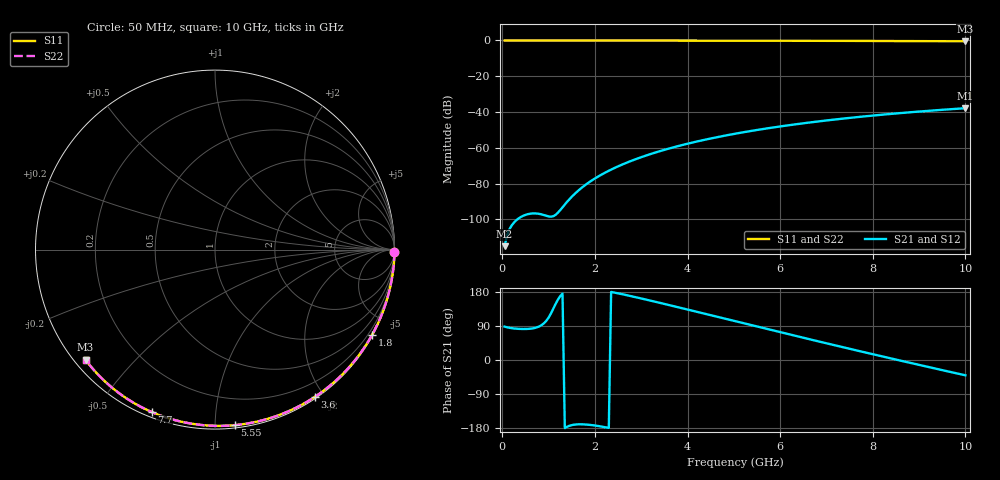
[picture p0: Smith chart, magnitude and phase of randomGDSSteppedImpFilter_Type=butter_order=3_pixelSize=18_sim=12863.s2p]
! freq	dB(S11)	phase(S11)	dB(S12)	phase(S12)
!  dB(S21)	phase(S21)	dB(S22)	phase(S22)
!S-par simulation data
#  GHz  S  DB  R 50
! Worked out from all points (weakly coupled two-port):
!   200 points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, 50 MHz to 10 GHz, reference 50 ohm
!   highest |S21| = -37.89 dB at 10 GHz (marker M1); lowest = -115.0 dB at 50 MHz (marker M2)
!   lowest |S11| = -0.5 dB at 10 GHz (marker M3), VSWR 36.83, Z = 1.54 - j18.4 ohm
!   |S11| at or under -10 dB: nowhere
!   |S22| runs from -0.5 to 0.0 dB; largest |S21 - S12| = 0
!   S11 on the Smith chart (normalised r, x): 50 MHz: open; 1.8 GHz: 0.03, -3.91; 3.6 GHz: 0.02, -1.88; 5.55 GHz: 0.02, -1.12; 7.7 GHz: 0.02, -0.68; 10 GHz: 0.03, -0.37
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0.05  -0.00 -0.8  -115.04 88.1  -115.04 88.1  -0.00 -0.8
0.45  -0.01 -7.3  -98.06 81.8  -98.06 81.8  -0.01 -7.3
0.9  -0.02 -14.5  -97.66 96.9  -97.66 96.9  -0.02 -14.5
1.75  -0.04 -27.9  -81.65 -169.8  -81.65 -169.8  -0.04 -27.9
1.8  -0.04 -28.7  -80.67 -170.2  -80.67 -170.2  -0.04 -28.7
1.85  -0.04 -29.5  -79.74 -170.7  -79.74 -170.7  -0.04 -29.5
2  -0.04 -31.8  -77.18 -172.9  -77.18 -172.9  -0.04 -31.8
2.15  -0.04 -34.1  -74.90 -175.8  -74.90 -175.8  -0.04 -34.1
2.35  -0.05 -37.2  -72.21 179.7  -72.21 179.7  -0.05 -37.2
2.55  -0.05 -40.3  -69.82 174.7  -69.82 174.7  -0.05 -40.3
2.95  -0.06 -46.3  -65.74 163.8  -65.74 163.8  -0.06 -46.3
3.4  -0.07 -53.0  -61.92 150.9  -61.92 150.9  -0.07 -53.0
3.6  -0.08 -56.0  -60.43 145.0  -60.43 145.0  -0.08 -56.0
4.3  -0.09 -66.1  -55.93 124.2  -55.93 124.2  -0.09 -66.1
5.05  -0.12 -76.6  -52.05 101.8  -52.05 101.8  -0.12 -76.6
5.55  -0.14 -83.5  -49.85 86.8  -49.85 86.8  -0.14 -83.5
6.1  -0.16 -90.8  -47.72 70.5  -47.72 70.5  -0.16 -90.8
6.7  -0.19 -98.7  -45.67 52.8  -45.67 52.8  -0.19 -98.7
7.7  -0.25 -111.4  -42.77 23.8  -42.77 23.8  -0.25 -111.4
8.35  -0.31 -119.4  -41.17 5.3  -41.17 5.3  -0.31 -119.4
9.2  -0.38 -129.8  -39.35 -18.4  -39.35 -18.4  -0.38 -129.8
10  -0.47 -139.6  -37.89 -40.4  -37.89 -40.4  -0.47 -139.6
